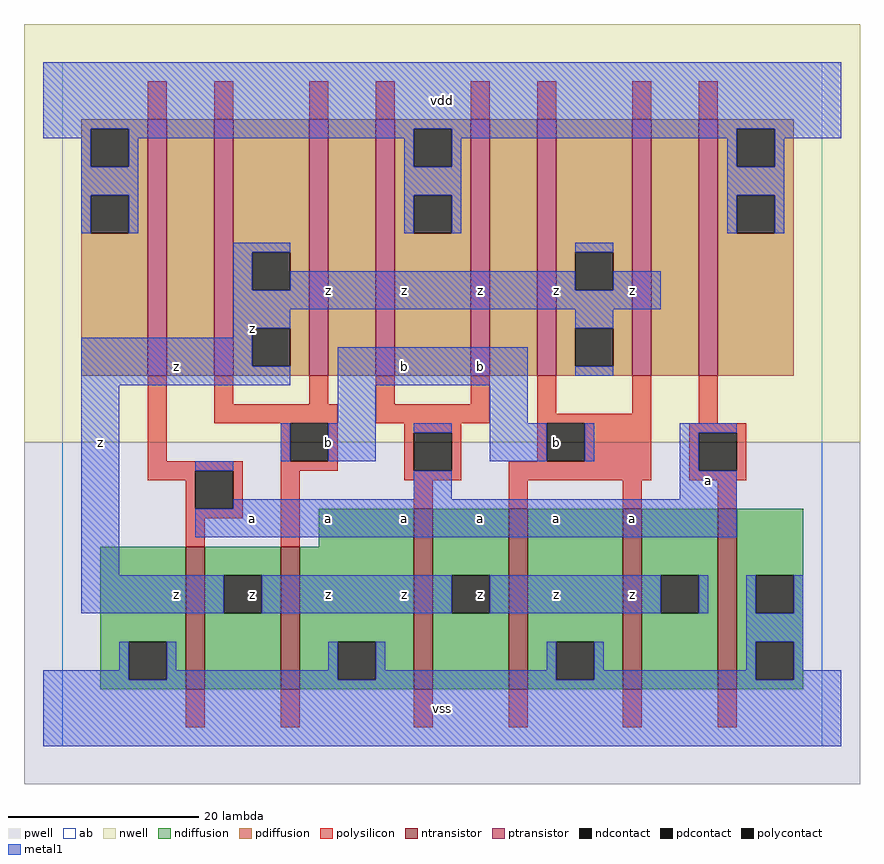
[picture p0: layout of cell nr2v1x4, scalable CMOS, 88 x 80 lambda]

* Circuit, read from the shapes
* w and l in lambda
.subckt nr2v1x4 a b vdd vss z
M1 z a vss VSUBS nfet w=15 l=2
M2 vss b z VSUBS nfet w=15 l=2
M3 z a vss VSUBS nfet w=19 l=2 m=2
M4 vss b z VSUBS nfet w=19 l=2 m=2
M5 n1 a vdd n2 pfet w=27 l=2
M6 z b n1 n2 pfet w=27 l=2
M7 n3 b z n2 pfet w=27 l=2
M8 vdd a n3 n2 pfet w=27 l=2
M9 n4 a vdd n2 pfet w=27 l=2
M10 z b n4 n2 pfet w=27 l=2
M11 n5 b z n2 pfet w=27 l=2
M12 vdd a n5 n2 pfet w=27 l=2
.ends

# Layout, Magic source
magic
tech scmos
<< ab >>
rect 0 0 80 72
<< pwell >>
rect -4 -4 84 32
<< nwell >>
rect -4 32 84 76
<< polysilicon >>
rect 9 66 11 70
rect 16 66 18 70
rect 26 66 28 70
rect 33 66 35 70
rect 43 66 45 70
rect 50 66 52 70
rect 60 66 62 70
rect 67 66 69 70
rect 9 30 11 39
rect 16 36 18 39
rect 26 36 28 39
rect 33 36 35 39
rect 43 36 45 39
rect 16 34 29 36
rect 33 34 45 36
rect 50 35 52 39
rect 60 35 62 39
rect 50 34 62 35
rect 67 34 69 39
rect 23 30 24 34
rect 28 30 29 34
rect 9 29 19 30
rect 9 28 14 29
rect 13 25 14 28
rect 18 25 19 29
rect 13 24 19 25
rect 23 29 29 30
rect 36 33 42 34
rect 36 29 37 33
rect 41 29 42 33
rect 50 30 51 34
rect 55 30 62 34
rect 13 21 15 24
rect 23 21 25 29
rect 36 28 42 29
rect 47 28 62 30
rect 66 33 72 34
rect 66 29 67 33
rect 71 29 72 33
rect 66 28 72 29
rect 37 25 39 28
rect 47 25 49 28
rect 59 25 61 28
rect 69 25 71 28
rect 13 2 15 6
rect 23 2 25 6
rect 37 2 39 6
rect 47 2 49 6
rect 59 2 61 6
rect 69 2 71 6
<< ndiffusion >>
rect 27 21 37 25
rect 4 11 13 21
rect 4 7 7 11
rect 11 7 13 11
rect 4 6 13 7
rect 15 18 23 21
rect 15 14 17 18
rect 21 14 23 18
rect 15 6 23 14
rect 25 11 37 21
rect 25 7 29 11
rect 33 7 37 11
rect 25 6 37 7
rect 39 18 47 25
rect 39 14 41 18
rect 45 14 47 18
rect 39 6 47 14
rect 49 11 59 25
rect 49 7 52 11
rect 56 7 59 11
rect 49 6 59 7
rect 61 18 69 25
rect 61 14 63 18
rect 67 14 69 18
rect 61 6 69 14
rect 71 18 78 25
rect 71 14 73 18
rect 77 14 78 18
rect 71 11 78 14
rect 71 7 73 11
rect 77 7 78 11
rect 71 6 78 7
<< pdiffusion >>
rect 2 65 9 66
rect 2 61 3 65
rect 7 61 9 65
rect 2 58 9 61
rect 2 54 3 58
rect 7 54 9 58
rect 2 39 9 54
rect 11 39 16 66
rect 18 52 26 66
rect 18 48 20 52
rect 24 48 26 52
rect 18 44 26 48
rect 18 40 20 44
rect 24 40 26 44
rect 18 39 26 40
rect 28 39 33 66
rect 35 65 43 66
rect 35 61 37 65
rect 41 61 43 65
rect 35 58 43 61
rect 35 54 37 58
rect 41 54 43 58
rect 35 39 43 54
rect 45 39 50 66
rect 52 52 60 66
rect 52 48 54 52
rect 58 48 60 52
rect 52 44 60 48
rect 52 40 54 44
rect 58 40 60 44
rect 52 39 60 40
rect 62 39 67 66
rect 69 65 77 66
rect 69 61 71 65
rect 75 61 77 65
rect 69 58 77 61
rect 69 54 71 58
rect 75 54 77 58
rect 69 39 77 54
<< metal1 >>
rect -2 65 82 72
rect -2 64 3 65
rect 2 61 3 64
rect 7 64 37 65
rect 7 61 8 64
rect 2 58 8 61
rect 2 54 3 58
rect 7 54 8 58
rect 36 61 37 64
rect 41 64 71 65
rect 41 61 42 64
rect 36 58 42 61
rect 36 54 37 58
rect 41 54 42 58
rect 70 61 71 64
rect 75 64 82 65
rect 75 61 76 64
rect 70 58 76 61
rect 70 54 71 58
rect 75 54 76 58
rect 18 52 24 53
rect 18 48 20 52
rect 54 52 58 53
rect 24 48 54 50
rect 58 48 63 50
rect 18 46 63 48
rect 18 44 24 46
rect 18 43 20 44
rect 2 40 20 43
rect 54 44 58 46
rect 2 38 24 40
rect 29 38 49 42
rect 54 39 58 40
rect 2 18 6 38
rect 29 34 33 38
rect 45 34 49 38
rect 23 30 24 34
rect 28 30 33 34
rect 37 33 41 34
rect 14 29 18 30
rect 45 30 51 34
rect 55 30 56 34
rect 65 33 71 34
rect 37 26 41 29
rect 65 29 67 33
rect 65 26 71 29
rect 18 25 71 26
rect 14 22 71 25
rect 2 14 17 18
rect 21 14 41 18
rect 45 14 63 18
rect 67 14 68 18
rect 72 14 73 18
rect 77 14 78 18
rect 72 11 78 14
rect 6 8 7 11
rect -2 7 7 8
rect 11 8 12 11
rect 28 8 29 11
rect 11 7 29 8
rect 33 8 34 11
rect 51 8 52 11
rect 33 7 52 8
rect 56 8 57 11
rect 72 8 73 11
rect 56 7 73 8
rect 77 8 78 11
rect 77 7 82 8
rect -2 0 82 7
<< ntransistor >>
rect 13 6 15 21
rect 23 6 25 21
rect 37 6 39 25
rect 47 6 49 25
rect 59 6 61 25
rect 69 6 71 25
<< ptransistor >>
rect 9 39 11 66
rect 16 39 18 66
rect 26 39 28 66
rect 33 39 35 66
rect 43 39 45 66
rect 50 39 52 66
rect 60 39 62 66
rect 67 39 69 66
<< polycontact >>
rect 24 30 28 34
rect 14 25 18 29
rect 37 29 41 33
rect 51 30 55 34
rect 67 29 71 33
<< ndcontact >>
rect 7 7 11 11
rect 17 14 21 18
rect 29 7 33 11
rect 41 14 45 18
rect 52 7 56 11
rect 63 14 67 18
rect 73 14 77 18
rect 73 7 77 11
<< pdcontact >>
rect 3 61 7 65
rect 3 54 7 58
rect 20 48 24 52
rect 20 40 24 44
rect 37 61 41 65
rect 37 54 41 58
rect 54 48 58 52
rect 54 40 58 44
rect 71 61 75 65
rect 71 54 75 58
<< labels >>
rlabel metal1 4 32 4 32 6 z
rlabel ndcontact 20 16 20 16 6 z
rlabel metal1 28 16 28 16 6 z
rlabel metal1 12 16 12 16 6 z
rlabel metal1 20 24 20 24 6 a
rlabel metal1 28 24 28 24 6 a
rlabel metal1 28 32 28 32 6 b
rlabel metal1 12 40 12 40 6 z
rlabel metal1 20 44 20 44 6 z
rlabel metal1 28 48 28 48 6 z
rlabel metal1 40 4 40 4 6 vss
rlabel metal1 36 16 36 16 6 z
rlabel ndcontact 44 16 44 16 6 z
rlabel metal1 36 24 36 24 6 a
rlabel metal1 44 24 44 24 6 a
rlabel metal1 36 40 36 40 6 b
rlabel metal1 44 40 44 40 6 b
rlabel metal1 36 48 36 48 6 z
rlabel metal1 44 48 44 48 6 z
rlabel metal1 40 68 40 68 6 vdd
rlabel metal1 60 16 60 16 6 z
rlabel metal1 52 16 52 16 6 z
rlabel metal1 52 24 52 24 6 a
rlabel metal1 60 24 60 24 6 a
rlabel polycontact 52 32 52 32 6 b
rlabel metal1 52 48 52 48 6 z
rlabel metal1 60 48 60 48 6 z
rlabel metal1 68 28 68 28 6 a
<< end >>
